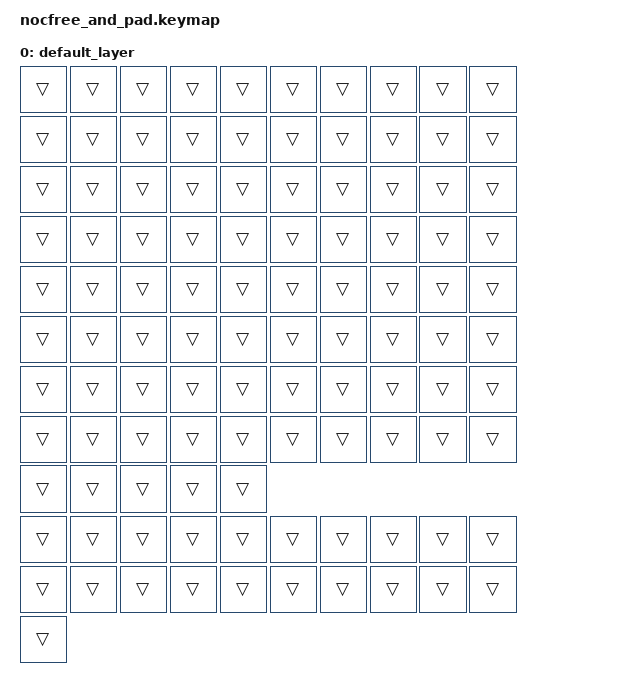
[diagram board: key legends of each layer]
/* SPDX-License-Identifier: MIT */
#include <behaviors.dtsi>

/ {
    keymap {
        compatible = "zmk,keymap";

        /*
         * Split peripherals report positions to the dongle and do not execute
         * this map. A full map is supplied so the board validates by itself.
         */
        default_layer {
            bindings = <
                /* NocFree & positions 0-84. */
                &trans &trans &trans &trans &trans &trans &trans &trans &trans &trans
                &trans &trans &trans &trans &trans &trans &trans &trans &trans &trans
                &trans &trans &trans &trans &trans &trans &trans &trans &trans &trans
                &trans &trans &trans &trans &trans &trans &trans &trans &trans &trans
                &trans &trans &trans &trans &trans &trans &trans &trans &trans &trans
                &trans &trans &trans &trans &trans &trans &trans &trans &trans &trans
                &trans &trans &trans &trans &trans &trans &trans &trans &trans &trans
                &trans &trans &trans &trans &trans &trans &trans &trans &trans &trans
                &trans &trans &trans &trans &trans
                /* NocFree Pad positions 85-105. */
                &trans &trans &trans &trans &trans &trans &trans &trans &trans &trans
                &trans &trans &trans &trans &trans &trans &trans &trans &trans &trans
                &trans
            >;
        };
    };
};
